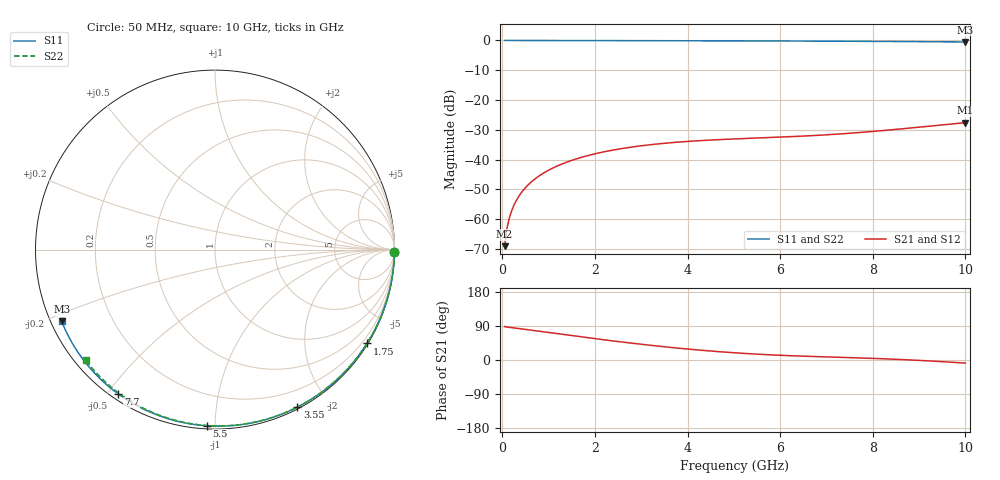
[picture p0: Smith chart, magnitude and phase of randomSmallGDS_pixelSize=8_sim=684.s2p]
! freq	dB(S11)	phase(S11)	dB(S12)	phase(S12)
!  dB(S21)	phase(S21)	dB(S22)	phase(S22)
!S-par simulation data
#  GHz  S  DB  R 50
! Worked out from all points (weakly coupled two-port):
!   200 points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, 50 MHz to 10 GHz, reference 50 ohm
!   highest |S21| = -27.59 dB at 10 GHz (marker M1); lowest = -69.0 dB at 50 MHz (marker M2)
!   lowest |S11| = -0.5 dB at 10 GHz (marker M3), VSWR 34.24, Z = 1.53 - j11.1 ohm
!   |S11| at or under -10 dB: nowhere
!   |S22| runs from -0.5 to 0.0 dB; largest |S21 - S12| = 0
!   S11 on the Smith chart (normalised r, x): 50 MHz: open; 1.75 GHz: 0.03, -3.53; 3.55 GHz: 0.02, -1.65; 5.5 GHz: 0.02, -0.95; 7.7 GHz: 0.02, -0.53; 10 GHz: 0.03, -0.22
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0.05  -0.00 -0.9  -69.04 88.2  -69.04 88.2  -0.00 -0.8
0.1  -0.00 -1.8  -63.12 87.0  -63.12 87.0  -0.00 -1.6
0.15  -0.00 -2.8  -59.68 86.1  -59.68 86.1  -0.00 -2.5
0.2  -0.00 -3.7  -57.24 85.3  -57.24 85.3  -0.00 -3.3
0.25  -0.00 -4.6  -55.34 84.6  -55.34 84.6  -0.00 -4.1
0.35  -0.00 -6.4  -52.46 83.1  -52.46 83.1  -0.00 -5.8
0.5  -0.01 -9.2  -49.41 80.8  -49.41 80.8  -0.01 -8.2
0.7  -0.01 -12.8  -46.54 77.5  -46.54 77.5  -0.01 -11.5
1  -0.02 -18.3  -43.54 72.5  -43.54 72.5  -0.02 -16.3
1.35  -0.03 -24.6  -41.08 66.8  -41.08 66.8  -0.03 -22.0
1.75  -0.04 -31.7  -39.05 60.3  -39.05 60.3  -0.04 -28.3
2.5  -0.06 -44.7  -36.49 48.7  -36.49 48.7  -0.05 -40.1
3.4  -0.08 -59.9  -34.66 36.2  -34.66 36.2  -0.07 -53.7
3.55  -0.08 -62.3  -34.44 34.3  -34.44 34.3  -0.08 -56.0
4.3  -0.11 -74.4  -33.59 25.7  -33.59 25.7  -0.10 -66.9
5.05  -0.13 -86.0  -33.02 18.7  -33.02 18.7  -0.12 -77.4
5.5  -0.15 -92.7  -32.74 15.4  -32.74 15.4  -0.14 -83.6
6.7  -0.21 -110.0  -31.93 9.3  -31.93 9.3  -0.19 -99.3
7.7  -0.28 -123.8  -30.91 5.5  -30.91 5.5  -0.25 -111.9
8.35  -0.33 -132.7  -30.06 2.7  -30.06 2.7  -0.30 -119.8
9.2  -0.42 -144.1  -28.81 -2.3  -28.81 -2.3  -0.38 -130.0
10  -0.51 -154.9  -27.59 -8.2  -27.59 -8.2  -0.46 -139.4
